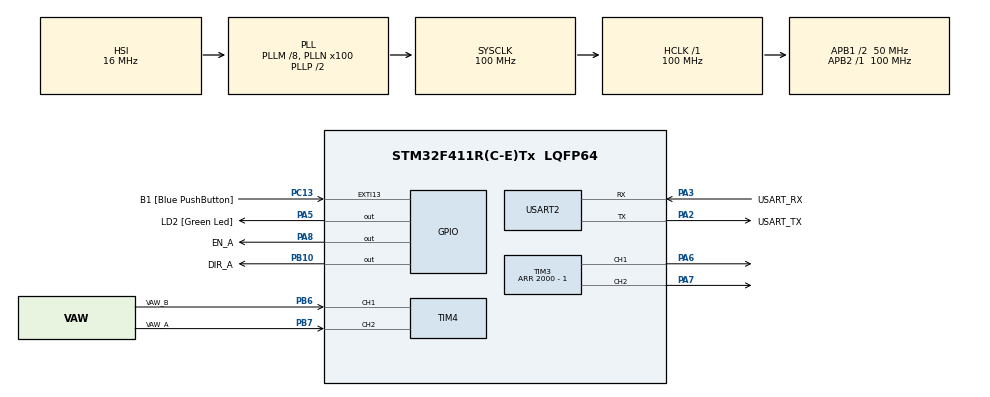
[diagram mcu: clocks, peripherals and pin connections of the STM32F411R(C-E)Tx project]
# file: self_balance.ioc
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Mcu.Family=STM32F4
Mcu.Name=STM32F411R(C-E)Tx
Mcu.Package=LQFP64
NVIC.PriorityGroup=NVIC_PRIORITYGROUP_0
NVIC.TIM1_BRK_TIM9_IRQn=true\:0\:0\:false\:false\:true\:true\:true
NVIC.TIM3_IRQn=true\:0\:0\:false\:false\:true\:true\:true
PA13.GPIO_Label=TMS
PA13.Mode=Serial_Wire
PA13.Signal=SYS_JTMS-SWDIO
PA14.GPIO_Label=TCK
PA14.Mode=Serial_Wire
PA14.Signal=SYS_JTCK-SWCLK
PA2.GPIO_Label=USART_TX
PA2.Mode=Asynchronous
PA2.Signal=USART2_TX
PA3.GPIO_Label=USART_RX
PA3.Mode=Asynchronous
PA3.Signal=USART2_RX
PA5.GPIO_Label=LD2 [Green Led]
PA5.Signal=GPIO_Output
PA6.Signal=S_TIM3_CH1
PA7.Signal=S_TIM3_CH2
PA8.GPIO_Label=EN_A
PA8.Signal=GPIO_Output
PB10.GPIO_Label=DIR_A
PB10.Signal=GPIO_Output
PB3.GPIO_Label=SWO
PB3.Signal=SYS_JTDO-SWO
PB6.GPIO_Label=VAW_B
PB6.Signal=S_TIM4_CH1
PB7.GPIO_Label=VAW_A
PB7.Signal=S_TIM4_CH2
PC13-ANTI_TAMP.GPIO_Label=B1 [Blue PushButton]
PC13-ANTI_TAMP.GPIO_ModeDefaultEXTI=GPIO_MODE_IT_FALLING
PC13-ANTI_TAMP.Signal=GPXTI13
PC14-OSC32_IN.Mode=LSE-External-Oscillator
PC14-OSC32_IN.Signal=RCC_OSC32_IN
PC15-OSC32_OUT.Mode=LSE-External-Oscillator
PC15-OSC32_OUT.Signal=RCC_OSC32_OUT
PH0\ -\ OSC_IN.Mode=HSE-External-Clock-Source
PH0\ -\ OSC_IN.Signal=RCC_OSC_IN
PH1\ -\ OSC_OUT.Mode=HSE-External-Clock-Source
PH1\ -\ OSC_OUT.Signal=RCC_OSC_OUT
ProjectManager.HeapSize=0x200
ProjectManager.StackSize=0x400
ProjectManager.TargetToolchain=STM32CubeIDE
RCC.48MHZClocksFreq_Value=50000000
RCC.AHBFreq_Value=100000000
RCC.APB1CLKDivider=RCC_HCLK_DIV2
RCC.APB1Freq_Value=50000000
RCC.APB1TimFreq_Value=100000000
RCC.APB2Freq_Value=100000000
RCC.APB2TimFreq_Value=100000000
RCC.CortexFreq_Value=100000000
RCC.FLatency-AdvancedSettings=FLASH_LATENCY_3
RCC.HCLKFreq_Value=100000000
RCC.HSE_VALUE=8000000
RCC.HSI_VALUE=16000000
RCC.PLLM=8
RCC.PLLN=100
RCC.SYSCLKFreq_VALUE=100000000
RCC.SYSCLKSource=RCC_SYSCLKSOURCE_PLLCLK
RCC.VCOOutputFreq_Value=200000000
SH.S_TIM3_CH1.0=TIM3_CH1,PWM Generation1 CH1
SH.S_TIM3_CH2.0=TIM3_CH2,PWM Generation2 CH2
SH.S_TIM4_CH1.0=TIM4_CH1,Encoder_Interface
SH.S_TIM4_CH2.0=TIM4_CH2,Encoder_Interface
TIM3.Channel-PWM\ Generation1\ CH1=TIM_CHANNEL_1
TIM3.Channel-PWM\ Generation2\ CH2=TIM_CHANNEL_2
TIM3.Period=2000 - 1
TIM4.EncoderMode=TIM_ENCODERMODE_TI12
TIM9.Period=20000-1
TIM9.Prescaler=100-1
USART2.VirtualMode=VM_ASYNC
VP_TIM9_VS_ClockSourceINT.Mode=Internal
board=NUCLEO-F411RE

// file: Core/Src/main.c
/* USER CODE BEGIN Header */
/**
  ******************************************************************************
  * @file           : main.c
  * @brief          : Main program body
  ******************************************************************************
  * @attention
  *
  * <h2><center>&copy; Copyright (c) 2022 STMicroelectronics.
  * All rights reserved.</center></h2>
  *
  * This software component is licensed by ST under BSD 3-Clause license,
  * the "License"; You may not use this file except in compliance with the
  * License. You may obtain a copy of the License at:
  *                        opensource.org/licenses/BSD-3-Clause
  *
  ******************************************************************************
  */
/* USER CODE END Header */
#include "main.h"

TIM_HandleTypeDef htim3;
TIM_HandleTypeDef htim4;
TIM_HandleTypeDef htim9;

UART_HandleTypeDef huart2;

/* USER CODE BEGIN PV */
//max14870 max1470_A;
motor_str motor_A;
/* USER CODE END PV */

void SystemClock_Config(void);
static void MX_GPIO_Init(void);
static void MX_USART2_UART_Init(void);
static void MX_TIM3_Init(void);
static void MX_TIM4_Init(void);
static void MX_TIM9_Init(void);

int main(void)
{

  /* MCU Configuration--------------------------------------------------------*/

  /* Reset of all peripherals, Initializes the Flash interface and the Systick. */
  HAL_Init();

  /* Configure the system clock */
  SystemClock_Config();

  /* Initialize all configured peripherals */
  MX_GPIO_Init();
  MX_USART2_UART_Init();
  MX_TIM3_Init();
  MX_TIM4_Init();
  MX_TIM9_Init();
  /* USER CODE BEGIN 2 */

  // initialize motor with PID
  motor_init(&motor_A, &htim4); //first init motor
  motor_choose_mode(&motor_A, POS);
  max14870_init(&(motor_A.motor_board), &htim3, TIM_CHANNEL_1,
		  EN_A_Pin, GPIOA, DIR_A_Pin, GPIOB ); //second init board
  pid_init(&(motor_A.pid_controller),
		  MOTOR_KP, MOTOR_KI, MOTOR_KD, ANTI_WINDUP); //third init PID
  HAL_TIM_Base_Start_IT(&htim9); // start timer for speed

  int speed_table[] = {50, 200};
  int i = 0;
//  uint32_t time_tick = HAL_GetTick();
//  uint32_t switch_time = 5000;
//  uint8_t button = 1;

 // motor_set_speed(&motor_A, speed_table[i]);

  /* USER CODE END 2 */

  /* Infinite loop */
  /* USER CODE BEGIN WHILE */
  while (1)
  {
	if(!HAL_GPIO_ReadPin(B1_GPIO_Port, B1_Pin))
		motor_reset_position(&motor_A);

	HAL_Delay(100);
    /* USER CODE END WHILE */

	  }
}

void SystemClock_Config(void)
{
  RCC_OscInitTypeDef RCC_OscInitStruct = {0};
  RCC_ClkInitTypeDef RCC_ClkInitStruct = {0};

  /** Configure the main internal regulator output voltage
  */
  __HAL_RCC_PWR_CLK_ENABLE();
  __HAL_PWR_VOLTAGESCALING_CONFIG(PWR_REGULATOR_VOLTAGE_SCALE1);
  /** Initializes the RCC Oscillators according to the specified parameters
  * in the RCC_OscInitTypeDef structure.
  */
  RCC_OscInitStruct.OscillatorType = RCC_OSCILLATORTYPE_HSI;
  RCC_OscInitStruct.HSIState = RCC_HSI_ON;
  RCC_OscInitStruct.HSICalibrationValue = RCC_HSICALIBRATION_DEFAULT;
  RCC_OscInitStruct.PLL.PLLState = RCC_PLL_ON;
  RCC_OscInitStruct.PLL.PLLSource = RCC_PLLSOURCE_HSI;
  RCC_OscInitStruct.PLL.PLLM = 8;
  RCC_OscInitStruct.PLL.PLLN = 100;
  RCC_OscInitStruct.PLL.PLLP = RCC_PLLP_DIV2;
  RCC_OscInitStruct.PLL.PLLQ = 4;
  if (HAL_RCC_OscConfig(&RCC_OscInitStruct) != HAL_OK)
  {
    Error_Handler();
  }
  /** Initializes the CPU, AHB and APB buses clocks
  */
  RCC_ClkInitStruct.ClockType = RCC_CLOCKTYPE_HCLK|RCC_CLOCKTYPE_SYSCLK
                              |RCC_CLOCKTYPE_PCLK1|RCC_CLOCKTYPE_PCLK2;
  RCC_ClkInitStruct.SYSCLKSource = RCC_SYSCLKSOURCE_PLLCLK;
  RCC_ClkInitStruct.AHBCLKDivider = RCC_SYSCLK_DIV1;
  RCC_ClkInitStruct.APB1CLKDivider = RCC_HCLK_DIV2;
  RCC_ClkInitStruct.APB2CLKDivider = RCC_HCLK_DIV1;

  if (HAL_RCC_ClockConfig(&RCC_ClkInitStruct, FLASH_LATENCY_3) != HAL_OK)
  {
    Error_Handler();
  }
}

static void MX_TIM3_Init(void)
{

  TIM_MasterConfigTypeDef sMasterConfig = {0};
  TIM_OC_InitTypeDef sConfigOC = {0};

  htim3.Instance = TIM3;
  htim3.Init.Prescaler = 0;
  htim3.Init.CounterMode = TIM_COUNTERMODE_UP;
  htim3.Init.Period = 2000 - 1;
  htim3.Init.ClockDivision = TIM_CLOCKDIVISION_DIV1;
  htim3.Init.AutoReloadPreload = TIM_AUTORELOAD_PRELOAD_DISABLE;
  if (HAL_TIM_PWM_Init(&htim3) != HAL_OK)
  {
    Error_Handler();
  }
  sMasterConfig.MasterOutputTrigger = TIM_TRGO_RESET;
  sMasterConfig.MasterSlaveMode = TIM_MASTERSLAVEMODE_DISABLE;
  if (HAL_TIMEx_MasterConfigSynchronization(&htim3, &sMasterConfig) != HAL_OK)
  {
    Error_Handler();
  }
  sConfigOC.OCMode = TIM_OCMODE_PWM1;
  sConfigOC.Pulse = 0;
  sConfigOC.OCPolarity = TIM_OCPOLARITY_HIGH;
  sConfigOC.OCFastMode = TIM_OCFAST_DISABLE;
  if (HAL_TIM_PWM_ConfigChannel(&htim3, &sConfigOC, TIM_CHANNEL_1) != HAL_OK)
  {
    Error_Handler();
  }
  if (HAL_TIM_PWM_ConfigChannel(&htim3, &sConfigOC, TIM_CHANNEL_2) != HAL_OK)
  {
    Error_Handler();
  }
  HAL_TIM_MspPostInit(&htim3);

}

static void MX_TIM4_Init(void)
{

  TIM_Encoder_InitTypeDef sConfig = {0};
  TIM_MasterConfigTypeDef sMasterConfig = {0};

  htim4.Instance = TIM4;
  htim4.Init.Prescaler = 0;
  htim4.Init.CounterMode = TIM_COUNTERMODE_UP;
  htim4.Init.Period = 65535;
  htim4.Init.ClockDivision = TIM_CLOCKDIVISION_DIV1;
  htim4.Init.AutoReloadPreload = TIM_AUTORELOAD_PRELOAD_DISABLE;
  sConfig.EncoderMode = TIM_ENCODERMODE_TI12;
  sConfig.IC1Polarity = TIM_ICPOLARITY_RISING;
  sConfig.IC1Selection = TIM_ICSELECTION_DIRECTTI;
  sConfig.IC1Prescaler = TIM_ICPSC_DIV1;
  sConfig.IC1Filter = 0;
  sConfig.IC2Polarity = TIM_ICPOLARITY_RISING;
  sConfig.IC2Selection = TIM_ICSELECTION_DIRECTTI;
  sConfig.IC2Prescaler = TIM_ICPSC_DIV1;
  sConfig.IC2Filter = 0;
  if (HAL_TIM_Encoder_Init(&htim4, &sConfig) != HAL_OK)
  {
    Error_Handler();
  }
  sMasterConfig.MasterOutputTrigger = TIM_TRGO_RESET;
  sMasterConfig.MasterSlaveMode = TIM_MASTERSLAVEMODE_DISABLE;
  if (HAL_TIMEx_MasterConfigSynchronization(&htim4, &sMasterConfig) != HAL_OK)
  {
    Error_Handler();
  }

}

static void MX_TIM9_Init(void)
{

  TIM_ClockConfigTypeDef sClockSourceConfig = {0};

  htim9.Instance = TIM9;
  htim9.Init.Prescaler = 100-1;
  htim9.Init.CounterMode = TIM_COUNTERMODE_UP;
  htim9.Init.Period = 20000-1;
  htim9.Init.ClockDivision = TIM_CLOCKDIVISION_DIV1;
  htim9.Init.AutoReloadPreload = TIM_AUTORELOAD_PRELOAD_DISABLE;
  if (HAL_TIM_Base_Init(&htim9) != HAL_OK)
  {
    Error_Handler();
  }
  sClockSourceConfig.ClockSource = TIM_CLOCKSOURCE_INTERNAL;
  if (HAL_TIM_ConfigClockSource(&htim9, &sClockSourceConfig) != HAL_OK)
  {
    Error_Handler();
  }

}

static void MX_USART2_UART_Init(void)
{

  huart2.Instance = USART2;
  huart2.Init.BaudRate = 115200;
  huart2.Init.WordLength = UART_WORDLENGTH_8B;
  huart2.Init.StopBits = UART_STOPBITS_1;
  huart2.Init.Parity = UART_PARITY_NONE;
  huart2.Init.Mode = UART_MODE_TX_RX;
  huart2.Init.HwFlowCtl = UART_HWCONTROL_NONE;
  huart2.Init.OverSampling = UART_OVERSAMPLING_16;
  if (HAL_UART_Init(&huart2) != HAL_OK)
  {
    Error_Handler();
  }

}

static void MX_GPIO_Init(void)
{
  GPIO_InitTypeDef GPIO_InitStruct = {0};

  /* GPIO Ports Clock Enable */
  __HAL_RCC_GPIOC_CLK_ENABLE();
  __HAL_RCC_GPIOH_CLK_ENABLE();
  __HAL_RCC_GPIOA_CLK_ENABLE();
  __HAL_RCC_GPIOB_CLK_ENABLE();

  /*Configure GPIO pin Output Level */
  HAL_GPIO_WritePin(GPIOA, LD2_Pin|EN_A_Pin, GPIO_PIN_RESET);

  /*Configure GPIO pin Output Level */
  HAL_GPIO_WritePin(DIR_A_GPIO_Port, DIR_A_Pin, GPIO_PIN_RESET);

  /*Configure GPIO pin : B1_Pin */
  GPIO_InitStruct.Pin = B1_Pin;
  GPIO_InitStruct.Mode = GPIO_MODE_IT_FALLING;
  GPIO_InitStruct.Pull = GPIO_NOPULL;
  HAL_GPIO_Init(B1_GPIO_Port, &GPIO_InitStruct);

  /*Configure GPIO pins : LD2_Pin EN_A_Pin */
  GPIO_InitStruct.Pin = LD2_Pin|EN_A_Pin;
  GPIO_InitStruct.Mode = GPIO_MODE_OUTPUT_PP;
  GPIO_InitStruct.Pull = GPIO_NOPULL;
  GPIO_InitStruct.Speed = GPIO_SPEED_FREQ_LOW;
  HAL_GPIO_Init(GPIOA, &GPIO_InitStruct);

  /*Configure GPIO pin : DIR_A_Pin */
  GPIO_InitStruct.Pin = DIR_A_Pin;
  GPIO_InitStruct.Mode = GPIO_MODE_OUTPUT_PP;
  GPIO_InitStruct.Pull = GPIO_NOPULL;
  GPIO_InitStruct.Speed = GPIO_SPEED_FREQ_LOW;
  HAL_GPIO_Init(DIR_A_GPIO_Port, &GPIO_InitStruct);

}

/* USER CODE BEGIN 4 */
void HAL_TIM_PeriodElapsedCallback(TIM_HandleTypeDef *htim)
{
	if(htim->Instance == TIM9){
		if(motor_A.mode == SPEED)
			motor_calculate_speed(&motor_A);
		else if(motor_A.mode == POS)
			motor_calculate_position(&motor_A);
	}
}
/* USER CODE END 4 */

void Error_Handler(void)
{
  __disable_irq();
  while (1)
  {
  }
}

/************************ (C) COPYRIGHT STMicroelectronics *****END OF FILE****/
